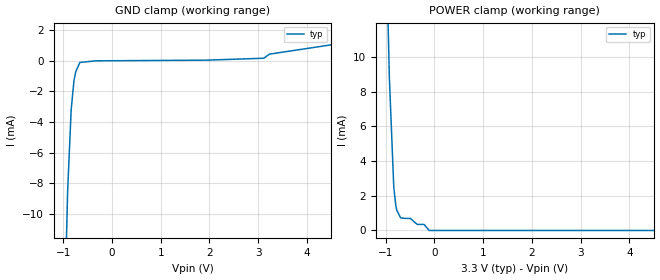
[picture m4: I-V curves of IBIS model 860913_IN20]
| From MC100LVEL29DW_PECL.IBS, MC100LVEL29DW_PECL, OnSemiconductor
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[Model] 860913_IN20
Model_type Input_ECL
Vinl = 2.115V
Vinh = 2.301V
C_comp 600.0fF NA NA
| variable typ   min   max
[Voltage Range]   3.300V  NA  NA
[GND Clamp Reference]   0.000V  NA  NA
[POWER Clamp Reference]  3.300V  NA  NA
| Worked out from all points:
|   GND clamp passes 1 mA (typ) near -0.76 V on its own axis
|   POWER clamp passes 1 mA (typ) near -0.74 V on its own axis
[GND Clamp]
-3.3V     -565.1mA   NA         NA
-1.053V   -27.22mA   NA         NA
-911.2mV  -8.577mA   NA         NA
-838.1mV  -3.214mA   NA         NA
-781mV    -1.32mA    NA         NA
-742.1mV  -712.5uA   NA         NA
-659mV    -123.4uA   NA         NA
-329.5mV  -18.95uA   NA         NA
1.928V    23.59uA    NA         NA
3.115V    149.7uA    NA         NA
3.232V    416.6uA    NA         NA
6.6V      2.027mA    NA         NA
[POWER Clamp]
-3.3V     2.007A     NA         NA
-1.036V   22.11mA    NA         NA
-927mV    8.865mA    NA         NA
-836mV    2.517mA    NA         NA
-793mV    1.404mA    NA         NA
-773mV    1.165mA    NA         NA
-694mV    725uA      NA         NA
-494mV    694.6uA    NA         NA
-355mV    348.7uA    NA         NA
-216mV    348.7uA    NA         NA
-108mV    0A         NA         NA
6.6V      0A         NA         NA
